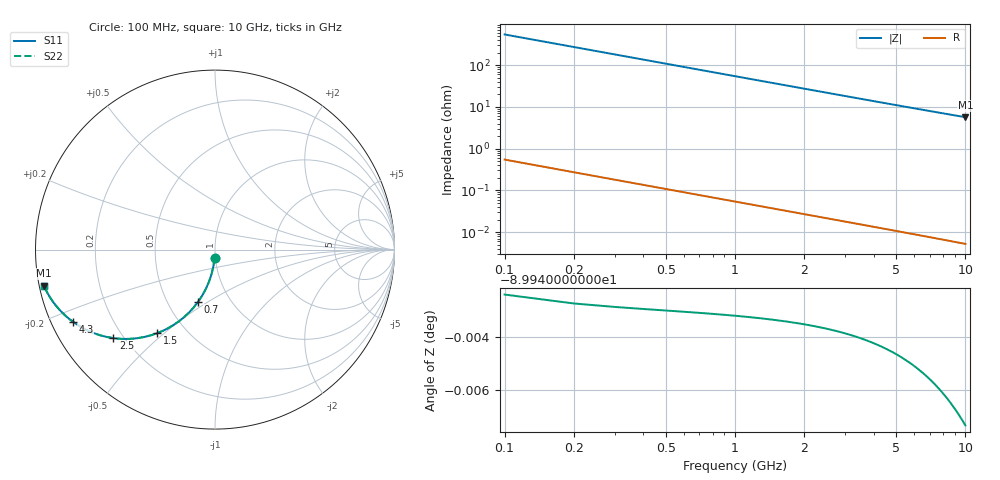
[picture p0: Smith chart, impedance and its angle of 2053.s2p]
# Hz S RI R 50.00
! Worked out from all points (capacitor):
!   100 points, 100 MHz to 10 GHz, reference 50 ohm
!   read as one part in shunt: C = 2.92 pF near 100 MHz
!   lowest |Z| = 5.68 ohm at 10 GHz (marker M1)
!   S11 on the Smith chart (normalised r, x): 100 MHz: 0.99, -0.09; 700 MHz: 0.71, -0.45; 1.5 GHz: 0.35, -0.47; 2.5 GHz: 0.16, -0.37; 4.3 GHz: 0.06, -0.24; 10 GHz: 0.01, -0.10
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1e8  -0.00214 -0.0457  0.9978 -0.0459  0.9978 -0.0459  -0.00214 -0.0457
2e8  -0.00844 -0.0909  0.9915 -0.0912  0.9915 -0.0912  -0.00844 -0.0909
3e8  -0.0187 -0.1349  0.9812 -0.1354  0.9812 -0.1354  -0.0187 -0.1349
4e8  -0.0328 -0.1773  0.9672 -0.1779  0.9672 -0.1779  -0.0328 -0.1773
5e8  -0.0502 -0.2176  0.9497 -0.2184  0.9497 -0.2184  -0.0502 -0.2176
6e8  -0.0707 -0.2554  0.9293 -0.2563  0.9293 -0.2563  -0.0707 -0.2554
7e8  -0.0938 -0.2905  0.9062 -0.2916  0.9062 -0.2916  -0.0938 -0.2905
9e8  -0.1459 -0.3518  0.8541 -0.3532  0.8541 -0.3532  -0.1459 -0.3518
1.1e9  -0.2031 -0.401  0.7969 -0.4027  0.7969 -0.4027  -0.2031 -0.401
1.3e9  -0.2623 -0.4384  0.7376 -0.4404  0.7376 -0.4404  -0.2623 -0.4384
1.5e9  -0.3211 -0.4652  0.6789 -0.4676  0.6789 -0.4676  -0.3211 -0.4652
1.8e9  -0.4048 -0.4889  0.5952 -0.4918  0.5952 -0.4918  -0.4048 -0.4889
2.1e9  -0.4803 -0.4974  0.5197 -0.5008  0.5197 -0.5008  -0.4803 -0.4974
2.5e9  -0.5666 -0.493  0.4333 -0.497  0.4333 -0.497  -0.5666 -0.493
2.9e9  -0.6372 -0.478  0.3628 -0.4826  0.3628 -0.4826  -0.6372 -0.478
3.4e9  -0.7067 -0.452  0.2933 -0.4575  0.2933 -0.4575  -0.7067 -0.452
3.8e9  -0.7503 -0.4292  0.2496 -0.4354  0.2496 -0.4354  -0.7503 -0.4292
4.3e9  -0.7935 -0.4008  0.2064 -0.4077  0.2064 -0.4077  -0.7935 -0.4008
5.1e9  -0.8436 -0.3585  0.1563 -0.3668  0.1563 -0.3668  -0.8436 -0.3585
6.7e9  -0.9029 -0.2901  0.097 -0.3011  0.097 -0.3011  -0.9029 -0.2901
8.4e9  -0.936 -0.2372  0.0639 -0.2512  0.0639 -0.2512  -0.936 -0.2372
1e10  -0.954 -0.2003  0.0458 -0.2171  0.0458 -0.2171  -0.954 -0.2003
